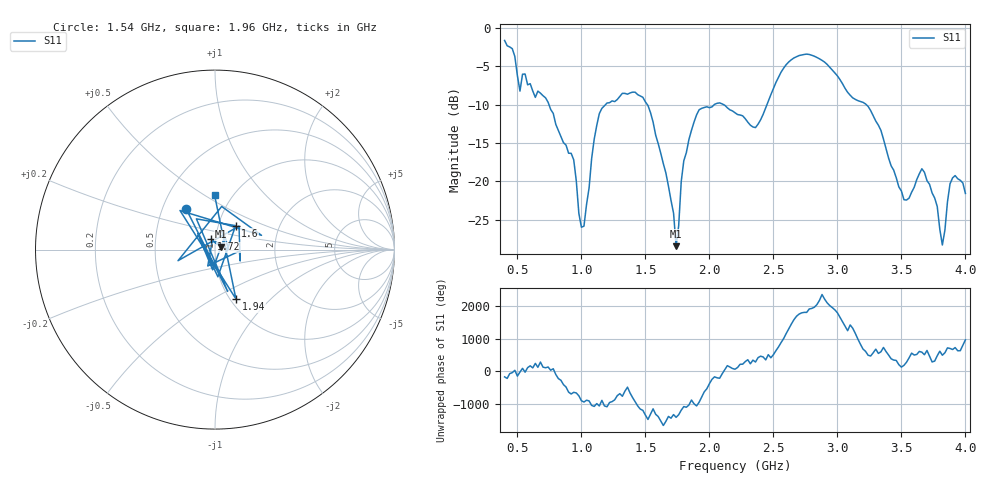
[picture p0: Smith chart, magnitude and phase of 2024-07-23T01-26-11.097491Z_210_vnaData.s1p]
!Created with skrf (http://scikit-rf.org).
# Hz S RI R 50.0
!freq ReS11 ImS11
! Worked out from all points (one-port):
!   181 points, 400 MHz to 4 GHz, reference 50 ohm
!   lowest |S11| = -28.4 dB at 1.74 GHz (marker M1), VSWR 1.08, Z = 53.5 + j1.8 ohm
!   |S11| at or under -10 dB: 746.2 MHz to 1.189 GHz (442.9 MHz wide, 45.8 % of centre); 1.515 GHz to 2.039 GHz (523.9 MHz wide, 29.5 % of centre); 3.225 GHz to end of sweep (the widest 3 of 4)
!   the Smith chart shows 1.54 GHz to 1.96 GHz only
!   S11 on the Smith chart (normalised r, x): 1.54 GHz: 0.66, +0.33; 1.6 GHz: 1.21, +0.33; 1.72 GHz: 0.95, +0.11; 1.94 GHz: 1.06, -0.64; 1.96 GHz: 0.83, +0.55
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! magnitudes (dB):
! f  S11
! 400 MHz  -1.7
! 520 MHz  -8.3
! 560 MHz  -6.0
! 720 MHz  -9.1
! 860 MHz  -15.0
! 940 MHz  -17.2
! 980 MHz  -24.2
! 1.02 GHz  -25.8
! 1.14 GHz  -11.2
! 1.3 GHz  -9.0
! 1.54 GHz  -11.1
! 1.6 GHz  -15.1
! 1.72 GHz  -24.1
! 1.74 GHz  -28.4
! 1.76 GHz  -25.8
! 1.8 GHz  -17.3
! 1.94 GHz  -10.5
! 1.96 GHz  -10.4
! 2.2 GHz  -11.1
! 2.36 GHz  -13.0
! 2.66 GHz  -3.9
! 3.1 GHz  -8.8
! 3.26 GHz  -10.8
! 3.56 GHz  -22.2
! 3.68 GHz  -18.8
! 3.82 GHz  -28.3
! 3.9 GHz  -19.6
! 4 GHz  -21.6
